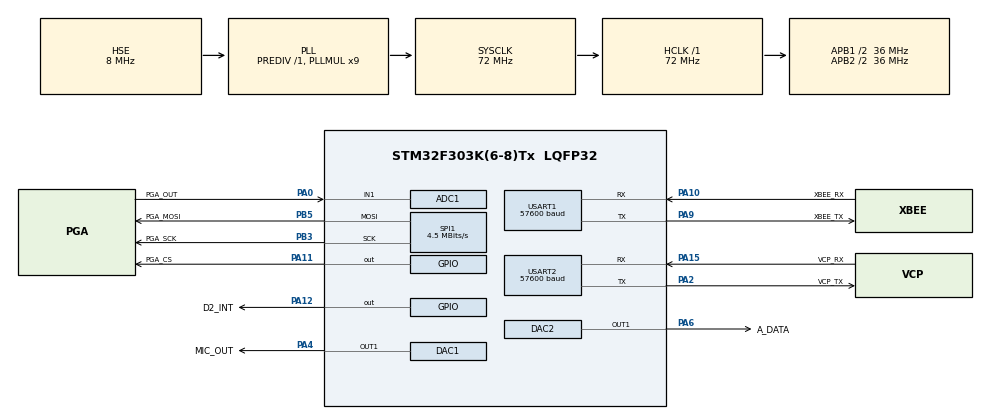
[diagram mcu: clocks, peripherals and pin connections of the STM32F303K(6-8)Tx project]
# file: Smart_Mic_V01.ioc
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ADC1.Channel-0\#ChannelRegularConversion=ADC_CHANNEL_1
ADC1.ClockPrescaler=ADC_CLOCK_ASYNC_DIV1
ADC1.ContinuousConvMode=ENABLE
ADC1.DMAContinuousRequests=DISABLE
ADC1.DataAlign=ADC_DATAALIGN_RIGHT
ADC1.DiscontinuousConvMode=DISABLE
ADC1.EOCSelection=ADC_EOC_SINGLE_CONV
ADC1.EnableAnalogWatchDog1=false
ADC1.EnableAnalogWatchDog2=false
ADC1.EnableAnalogWatchDog3=false
ADC1.EnableInjectedConversion=ENABLE
ADC1.EnableRegularConversion=ENABLE
ADC1.ExternalTrigConv=ADC_SOFTWARE_START
ADC1.ExternalTrigConvEdge=ADC_EXTERNALTRIGCONVEDGE_NONE
ADC1.InjNumberOfConversion=0
ADC1.LowPowerAutoWait=DISABLE
ADC1.NbrOfConversion=1
ADC1.NbrOfConversionFlag=1
ADC1.Offset-0\#ChannelRegularConversion=0
ADC1.OffsetNumber-0\#ChannelRegularConversion=ADC_OFFSET_NONE
ADC1.Overrun=ADC_OVR_DATA_OVERWRITTEN
ADC1.Rank-0\#ChannelRegularConversion=1
ADC1.Resolution=ADC_RESOLUTION_12B
ADC1.SamplingTime-0\#ChannelRegularConversion=ADC_SAMPLETIME_7CYCLES_5
ADC1.ScanConvMode=ADC_SCAN_DISABLE
ADC1.SubFamily=STM32F303x8
ADC1.master=1
DAC1.DAC_Trigger=DAC_TRIGGER_NONE
Mcu.Family=STM32F3
Mcu.Name=STM32F303K(6-8)Tx
Mcu.Package=LQFP32
NVIC.PriorityGroup=NVIC_PRIORITYGROUP_4
NVIC.USART1_IRQn=true\:5\:0\:true\:true\:true\:1\:true\:true
NVIC.USART2_IRQn=true\:5\:0\:true\:true\:true\:2\:true\:true
PA0.GPIO_Label=PGA_OUT
PA0.Mode=IN1-Single-Ended
PA0.Signal=ADC1_IN1
PA10.GPIO_Label=XBEE_RX
PA10.Mode=Asynchronous
PA10.Signal=USART1_RX
PA11.GPIO_Label=PGA_CS
PA11.GPIO_Speed=GPIO_SPEED_FREQ_HIGH
PA11.Signal=GPIO_Output
PA12.GPIO_Label=D2_INT
PA12.Signal=GPIO_Output
PA13.GPIO_Label=SWDIO
PA13.Mode=Serial_Wire
PA13.Signal=SYS_JTMS-SWDIO
PA14.GPIO_Label=SWCLK
PA14.Mode=Serial_Wire
PA14.Signal=SYS_JTCK-SWCLK
PA15.GPIO_Label=VCP_RX
PA15.Mode=Asynchronous
PA15.Signal=USART2_RX
PA2.GPIO_Label=VCP_TX
PA2.Mode=Asynchronous
PA2.Signal=USART2_TX
PA4.GPIO_Label=MIC_OUT
PA4.Signal=COMP_DAC11_group
PA6.GPIO_Label=A_DATA
PA6.Signal=COMP_DAC21_group
PA9.GPIO_Label=XBEE_TX
PA9.Mode=Asynchronous
PA9.Signal=USART1_TX
PB3.GPIO_Label=PGA_SCK
PB3.Mode=TX_Only_Simplex_Unidirect_Master
PB3.Signal=SPI1_SCK
PB5.GPIO_Label=PGA_MOSI
PB5.Mode=TX_Only_Simplex_Unidirect_Master
PB5.Signal=SPI1_MOSI
PF0\ /\ OSC_IN.GPIO_Label=MCO
PF0\ /\ OSC_IN.Mode=HSE-External-Clock-Source
PF0\ /\ OSC_IN.Signal=RCC_OSC_IN
ProjectManager.HeapSize=0x200
ProjectManager.StackSize=0x400
ProjectManager.TargetToolchain=STM32CubeIDE
RCC.AHBFreq_Value=72000000
RCC.APB1CLKDivider=RCC_HCLK_DIV2
RCC.APB1Freq_Value=36000000
RCC.APB1TimFreq_Value=72000000
RCC.APB2CLKDivider=RCC_HCLK_DIV2
RCC.APB2Freq_Value=36000000
RCC.APB2TimFreq_Value=72000000
RCC.CortexFreq_Value=72000000
RCC.HCLKFreq_Value=72000000
RCC.HSE_VALUE=8000000
RCC.HSI_VALUE=8000000
RCC.PLLMUL=RCC_PLL_MUL9
RCC.PLLSourceVirtual=RCC_PLLSOURCE_HSE
RCC.SYSCLKFreq_VALUE=72000000
RCC.SYSCLKSourceVirtual=RCC_SYSCLKSOURCE_PLLCLK
SH.COMP_DAC11_group.0=DAC1_OUT1,DAC_OUT1
SH.COMP_DAC21_group.0=DAC2_OUT1,Switch_Enable_OUT1
SPI1.BaudRatePrescaler=SPI_BAUDRATEPRESCALER_8
SPI1.CalculateBaudRate=4.5 MBits/s
SPI1.DataSize=SPI_DATASIZE_16BIT
SPI1.Direction=SPI_DIRECTION_2LINES
SPI1.Mode=SPI_MODE_MASTER
SPI1.VirtualType=VM_MASTER
USART1.BaudRate=57600
USART1.VirtualMode-Asynchronous=VM_ASYNC
USART2.BaudRate=57600
USART2.VirtualMode-Asynchronous=VM_ASYNC
board=NUCLEO-F303K8

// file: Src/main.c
/**
 ******************************************************************************
 * @file           : main.c
 * @brief          : Main program body
 ******************************************************************************
 ** This notice applies to any and all portions of this file
 * that are not between comment pairs USER CODE BEGIN and
 * USER CODE END. Other portions of this file, whether
 * inserted by the user or by software development tools
 * are owned by their respective copyright owners.
 *
 * COPYRIGHT(c) 2018 STMicroelectronics
 *
 * Redistribution and use in source and binary forms, with or without modification,
 * are permitted provided that the following conditions are met:
 *   1. Redistributions of source code must retain the above copyright notice,
 *      this list of conditions and the following disclaimer.
 *   2. Redistributions in binary form must reproduce the above copyright notice,
 *      this list of conditions and the following disclaimer in the documentation
 *      and/or other materials provided with the distribution.
 *   3. Neither the name of STMicroelectronics nor the names of its contributors
 *      may be used to endorse or promote products derived from this software
 *      without specific prior written permission.
 *
 * THIS SOFTWARE IS PROVIDED BY THE COPYRIGHT HOLDERS AND CONTRIBUTORS "AS IS"
 * AND ANY EXPRESS OR IMPLIED WARRANTIES, INCLUDING, BUT NOT LIMITED TO, THE
 * IMPLIED WARRANTIES OF MERCHANTABILITY AND FITNESS FOR A PARTICULAR PURPOSE ARE
 * DISCLAIMED. IN NO EVENT SHALL THE COPYRIGHT HOLDER OR CONTRIBUTORS BE LIABLE
 * FOR ANY DIRECT, INDIRECT, INCIDENTAL, SPECIAL, EXEMPLARY, OR CONSEQUENTIAL
 * DAMAGES (INCLUDING, BUT NOT LIMITED TO, PROCUREMENT OF SUBSTITUTE GOODS OR
 * SERVICES; LOSS OF USE, DATA, OR PROFITS; OR BUSINESS INTERRUPTION) HOWEVER
 * CAUSED AND ON ANY THEORY OF LIABILITY, WHETHER IN CONTRACT, STRICT LIABILITY,
 * OR TORT (INCLUDING NEGLIGENCE OR OTHERWISE) ARISING IN ANY WAY OUT OF THE USE
 * OF THIS SOFTWARE, EVEN IF ADVISED OF THE POSSIBILITY OF SUCH DAMAGE.
 *
 ******************************************************************************
 */
#include "main.h"
#include "stm32f3xx_hal.h"

/* USER CODE BEGIN Includes */
#include <stdlib.h> // atoi
#include <string.h>
#include "application.h"
#include "jsmn.h"
#include "eeprom.h"

/* USER CODE END Includes */

ADC_HandleTypeDef hadc1;

DAC_HandleTypeDef hdac1;
DAC_HandleTypeDef hdac2;

SPI_HandleTypeDef hspi1;

UART_HandleTypeDef huart1;
UART_HandleTypeDef huart2;

/* USER CODE BEGIN PV */
/* Private variables ---------------------------------------------------------*/
// Dac Register for direct method of setting DAC value`s
__IO uint32_t Dac1_Reg = 0;
__IO uint32_t Dac2_Reg = 0;

/* USER CODE END PV */

void SystemClock_Config(void);
static void MX_GPIO_Init(void);
static void MX_ADC1_Init(void);
static void MX_DAC1_Init(void);
static void MX_DAC2_Init(void);
static void MX_USART1_UART_Init(void);
static void MX_USART2_UART_Init(void);
static void MX_SPI1_Init(void);
static void MX_NVIC_Init(void);

/* USER CODE BEGIN PFP */
/* Private function prototypes -----------------------------------------------*/

/* USER CODE END PFP */

int main(void) {

	/* MCU Configuration----------------------------------------------------------*/

	/* Reset of all peripherals, Initializes the Flash interface and the Systick. */
	HAL_Init();

	/* Configure the system clock */
	SystemClock_Config();

	/* Initialize all configured peripherals */
	MX_GPIO_Init();
	MX_ADC1_Init();
	MX_DAC1_Init();
	MX_DAC2_Init();
	MX_USART1_UART_Init();
	MX_USART2_UART_Init();
	MX_SPI1_Init();

	/* Initialize interrupts */
	MX_NVIC_Init();
	/* USER CODE BEGIN 2 */

	setup_init();
	EE_setup_init();
	initPacket();

	/* USER CODE END 2 */

	/* Infinite loop */
	while (1) {

		/* USER CODE BEGIN 3 */

		// check if UART data available
		if (UartReady == SET) {
			UartReady = RESET;
			// In the future add swap buffer and reset UART receive interrupt.
			for (int ii = 0 ; ii< sizeof(aRxBuffer) ; ii++){
				uint8_t inChar = aRxBuffer[ii];
				//aTxBuffer[0] = inChar;
				// pass char to packet builder
				serialEvent(inChar);
			}
			// Re-initialize UART in interrupt mode
#ifdef WIRELESS
			HAL_UART_Receive_IT(&huart1, (uint8_t *) aRxBuffer, sizeof(aRxBuffer));
#else
			HAL_UART_Receive_IT(&huart2, (uint8_t *) aRxBuffer, sizeof(aRxBuffer));
#endif
		} // end UartReady

		// read adc value
		uint32_t ADCValueIn = hadc1.Instance->DR;

		// move buffer index
		buffADC_index++;
		// roll over
		if (buffADC_index == ADC_BUFFER_SIZE)
			buffADC_index = 0;

		// add to circular buffer
		buffADC[buffADC_index] = ADCValueIn;

		// push oldest value to dac (adcLatency)
		buffOut_index = (buffADC_index + (ADC_BUFFER_SIZE - adcLatency)) % (ADC_BUFFER_SIZE);
		*(__IO uint32_t *) Dac1_Reg = buffADC[buffOut_index];

		// very simple threshold detection
		if (ADCValueIn > sigThresh) {
			D2_INT_GPIO_Port->BSRR = D2_INT_Pin;
			// reset keep on
			threshOn = threshOnSet;

		} else if (threshOn) {
			threshOn--;
#ifdef PLAYBACK_MSG
			if ((threshOn == 0) && (recordState)){
				sendBuffOut();
			}
#endif
		} else {
			D2_INT_GPIO_Port->BRR = D2_INT_Pin;
		}

		//	  // push latest value to dac2
		//*(__IO uint32_t *) Dac2_Reg = buffADC[buffADC_index];
		// toggle io
		//PGA_CS_GPIO_Port->ODR ^= PGA_CS_Pin;

		// toggle using HAL library
		//HAL_GPIO_TogglePin(PGA_CS_GPIO_Port,PGA_CS_Pin);
		//HAL_GPIO_TogglePin(D2_INT_GPIO_Port,D2_INT_Pin);
	}
	/* USER CODE END 3 */

}

void SystemClock_Config(void) {

	RCC_OscInitTypeDef RCC_OscInitStruct;
	RCC_ClkInitTypeDef RCC_ClkInitStruct;
	RCC_PeriphCLKInitTypeDef PeriphClkInit;

	/**Initializes the CPU, AHB and APB busses clocks
	 */
	RCC_OscInitStruct.OscillatorType = RCC_OSCILLATORTYPE_HSE;
	RCC_OscInitStruct.HSEState = RCC_HSE_BYPASS;
	RCC_OscInitStruct.HSEPredivValue = RCC_HSE_PREDIV_DIV1;
	RCC_OscInitStruct.HSIState = RCC_HSI_ON;
	RCC_OscInitStruct.PLL.PLLState = RCC_PLL_ON;
	RCC_OscInitStruct.PLL.PLLSource = RCC_PLLSOURCE_HSE;
	RCC_OscInitStruct.PLL.PLLMUL = RCC_PLL_MUL9;
	if (HAL_RCC_OscConfig(&RCC_OscInitStruct) != HAL_OK) {
		_Error_Handler(__FILE__, __LINE__);
	}

	/**Initializes the CPU, AHB and APB busses clocks
	 */
	RCC_ClkInitStruct.ClockType = RCC_CLOCKTYPE_HCLK | RCC_CLOCKTYPE_SYSCLK
			| RCC_CLOCKTYPE_PCLK1 | RCC_CLOCKTYPE_PCLK2;
	RCC_ClkInitStruct.SYSCLKSource = RCC_SYSCLKSOURCE_PLLCLK;
	RCC_ClkInitStruct.AHBCLKDivider = RCC_SYSCLK_DIV1;
	RCC_ClkInitStruct.APB1CLKDivider = RCC_HCLK_DIV2;
	RCC_ClkInitStruct.APB2CLKDivider = RCC_HCLK_DIV2;

	if (HAL_RCC_ClockConfig(&RCC_ClkInitStruct, FLASH_LATENCY_2) != HAL_OK) {
		_Error_Handler(__FILE__, __LINE__);
	}

	PeriphClkInit.PeriphClockSelection = RCC_PERIPHCLK_USART1
			| RCC_PERIPHCLK_ADC12;
	PeriphClkInit.Usart1ClockSelection = RCC_USART1CLKSOURCE_PCLK1;
	PeriphClkInit.Adc12ClockSelection = RCC_ADC12PLLCLK_DIV1;
	if (HAL_RCCEx_PeriphCLKConfig(&PeriphClkInit) != HAL_OK) {
		_Error_Handler(__FILE__, __LINE__);
	}

	/**Configure the Systick interrupt time
	 */
	HAL_SYSTICK_Config(HAL_RCC_GetHCLKFreq() / 1000);

	/**Configure the Systick
	 */
	HAL_SYSTICK_CLKSourceConfig(SYSTICK_CLKSOURCE_HCLK);

	/* SysTick_IRQn interrupt configuration */
	HAL_NVIC_SetPriority(SysTick_IRQn, 0, 0);
}

/**
 * @brief NVIC Configuration.
 * @retval None
 */
static void MX_NVIC_Init(void) {
	/* USART1_IRQn interrupt configuration */
	HAL_NVIC_SetPriority(USART1_IRQn, 5, 0);
	HAL_NVIC_EnableIRQ(USART1_IRQn);
	/* USART2_IRQn interrupt configuration */
	HAL_NVIC_SetPriority(USART2_IRQn, 5, 0);
	HAL_NVIC_EnableIRQ(USART2_IRQn);
}

/* ADC1 init function */
static void MX_ADC1_Init(void) {

	ADC_MultiModeTypeDef multimode;
	ADC_ChannelConfTypeDef sConfig;

	/**Common config
	 */
	hadc1.Instance = ADC1;
	hadc1.Init.ClockPrescaler = ADC_CLOCK_ASYNC_DIV1;
	hadc1.Init.Resolution = ADC_RESOLUTION_12B;
	hadc1.Init.ScanConvMode = ADC_SCAN_DISABLE;
	hadc1.Init.ContinuousConvMode = ENABLE;
	hadc1.Init.DiscontinuousConvMode = DISABLE;
	hadc1.Init.ExternalTrigConvEdge = ADC_EXTERNALTRIGCONVEDGE_NONE;
	hadc1.Init.ExternalTrigConv = ADC_SOFTWARE_START;
	hadc1.Init.DataAlign = ADC_DATAALIGN_RIGHT;
	hadc1.Init.NbrOfConversion = 1;
	hadc1.Init.DMAContinuousRequests = DISABLE;
	hadc1.Init.EOCSelection = ADC_EOC_SINGLE_CONV;
	hadc1.Init.LowPowerAutoWait = DISABLE;
	hadc1.Init.Overrun = ADC_OVR_DATA_OVERWRITTEN;
	if (HAL_ADC_Init(&hadc1) != HAL_OK) {
		_Error_Handler(__FILE__, __LINE__);
	}

	/**Configure the ADC multi-mode
	 */
	multimode.Mode = ADC_MODE_INDEPENDENT;
	if (HAL_ADCEx_MultiModeConfigChannel(&hadc1, &multimode) != HAL_OK) {
		_Error_Handler(__FILE__, __LINE__);
	}

	/**Configure Regular Channel
	 */
	sConfig.Channel = ADC_CHANNEL_1;
	sConfig.Rank = ADC_REGULAR_RANK_1;
	sConfig.SingleDiff = ADC_SINGLE_ENDED;
	sConfig.SamplingTime = ADC_SAMPLETIME_7CYCLES_5;
	sConfig.OffsetNumber = ADC_OFFSET_NONE;
	sConfig.Offset = 0;
	if (HAL_ADC_ConfigChannel(&hadc1, &sConfig) != HAL_OK) {
		_Error_Handler(__FILE__, __LINE__);
	}

}

/* DAC1 init function */
static void MX_DAC1_Init(void) {

	DAC_ChannelConfTypeDef sConfig;

	/**DAC Initialization
	 */
	hdac1.Instance = DAC1;
	if (HAL_DAC_Init(&hdac1) != HAL_OK) {
		_Error_Handler(__FILE__, __LINE__);
	}

	/**DAC channel OUT1 config
	 */
	sConfig.DAC_Trigger = DAC_TRIGGER_NONE;
	sConfig.DAC_OutputBuffer = DAC_OUTPUTBUFFER_ENABLE;
	if (HAL_DAC_ConfigChannel(&hdac1, &sConfig, DAC_CHANNEL_1) != HAL_OK) {
		_Error_Handler(__FILE__, __LINE__);
	}

}

/* DAC2 init function */
static void MX_DAC2_Init(void) {

	DAC_ChannelConfTypeDef sConfig;

	/**DAC Initialization
	 */
	hdac2.Instance = DAC2;
	if (HAL_DAC_Init(&hdac2) != HAL_OK) {
		_Error_Handler(__FILE__, __LINE__);
	}

	/**DAC channel OUT1 config
	 */
	sConfig.DAC_Trigger = DAC_TRIGGER_NONE;
	sConfig.DAC_OutputSwitch = DAC_OUTPUTSWITCH_ENABLE;
	if (HAL_DAC_ConfigChannel(&hdac2, &sConfig, DAC_CHANNEL_1) != HAL_OK) {
		_Error_Handler(__FILE__, __LINE__);
	}

}

/* SPI1 init function */
static void MX_SPI1_Init(void) {

	/* SPI1 parameter configuration*/
	hspi1.Instance = SPI1;
	hspi1.Init.Mode = SPI_MODE_MASTER;
	hspi1.Init.Direction = SPI_DIRECTION_2LINES;
	hspi1.Init.DataSize = SPI_DATASIZE_16BIT;
	hspi1.Init.CLKPolarity = SPI_POLARITY_LOW;
	hspi1.Init.CLKPhase = SPI_PHASE_1EDGE;
	hspi1.Init.NSS = SPI_NSS_SOFT;
	hspi1.Init.BaudRatePrescaler = SPI_BAUDRATEPRESCALER_8;
	hspi1.Init.FirstBit = SPI_FIRSTBIT_MSB;
	hspi1.Init.TIMode = SPI_TIMODE_DISABLE;
	hspi1.Init.CRCCalculation = SPI_CRCCALCULATION_DISABLE;
	hspi1.Init.CRCPolynomial = 7;
	hspi1.Init.CRCLength = SPI_CRC_LENGTH_DATASIZE;
	hspi1.Init.NSSPMode = SPI_NSS_PULSE_ENABLE;
	if (HAL_SPI_Init(&hspi1) != HAL_OK) {
		_Error_Handler(__FILE__, __LINE__);
	}

}

/* USART1 init function */
static void MX_USART1_UART_Init(void) {

	huart1.Instance = USART1;
	huart1.Init.BaudRate = 115200;
	huart1.Init.WordLength = UART_WORDLENGTH_8B;
	huart1.Init.StopBits = UART_STOPBITS_1;
	huart1.Init.Parity = UART_PARITY_NONE;
	huart1.Init.Mode = UART_MODE_TX_RX;
	huart1.Init.HwFlowCtl = UART_HWCONTROL_NONE;
	huart1.Init.OverSampling = UART_OVERSAMPLING_16;
	huart1.Init.OneBitSampling = UART_ONE_BIT_SAMPLE_DISABLE;
	huart1.AdvancedInit.AdvFeatureInit = UART_ADVFEATURE_NO_INIT;
	if (HAL_UART_Init(&huart1) != HAL_OK) {
		_Error_Handler(__FILE__, __LINE__);
	}

}

/* USART2 init function */
static void MX_USART2_UART_Init(void) {

	huart2.Instance = USART2;
	huart2.Init.BaudRate = 921600; // 921600 115200
	huart2.Init.WordLength = UART_WORDLENGTH_8B;
	huart2.Init.StopBits = UART_STOPBITS_1;
	huart2.Init.Parity = UART_PARITY_NONE;
	huart2.Init.Mode = UART_MODE_TX_RX;
	huart2.Init.HwFlowCtl = UART_HWCONTROL_NONE;
	huart2.Init.OverSampling = UART_OVERSAMPLING_16;
	huart2.Init.OneBitSampling = UART_ONE_BIT_SAMPLE_DISABLE;
	huart2.AdvancedInit.AdvFeatureInit = UART_ADVFEATURE_NO_INIT;
	if (HAL_UART_Init(&huart2) != HAL_OK) {
		_Error_Handler(__FILE__, __LINE__);
	}

}

/** Configure pins as
 * Analog
 * Input
 * Output
 * EVENT_OUT
 * EXTI
 */
static void MX_GPIO_Init(void) {

	GPIO_InitTypeDef GPIO_InitStruct;

	/* GPIO Ports Clock Enable */
	__HAL_RCC_GPIOF_CLK_ENABLE()
	;
	__HAL_RCC_GPIOA_CLK_ENABLE()
	;
	__HAL_RCC_GPIOB_CLK_ENABLE()
	;

	/*Configure GPIO pin Output Level */
	HAL_GPIO_WritePin(GPIOA, PGA_CS_Pin | D2_INT_Pin, GPIO_PIN_RESET);

	/*Configure GPIO pin : PGA_CS_Pin */
	GPIO_InitStruct.Pin = PGA_CS_Pin;
	GPIO_InitStruct.Mode = GPIO_MODE_OUTPUT_PP;
	GPIO_InitStruct.Pull = GPIO_NOPULL;
	GPIO_InitStruct.Speed = GPIO_SPEED_FREQ_HIGH;
	HAL_GPIO_Init(PGA_CS_GPIO_Port, &GPIO_InitStruct);

	/*Configure GPIO pin : D2_INT_Pin */
	GPIO_InitStruct.Pin = D2_INT_Pin;
	GPIO_InitStruct.Mode = GPIO_MODE_OUTPUT_PP;
	GPIO_InitStruct.Pull = GPIO_NOPULL;
	GPIO_InitStruct.Speed = GPIO_SPEED_FREQ_LOW;
	HAL_GPIO_Init(D2_INT_GPIO_Port, &GPIO_InitStruct);

}

void _Error_Handler(char *file, int line) {
	while (1) {
	}
}

/************************ (C) COPYRIGHT STMicroelectronics *****END OF FILE****/
